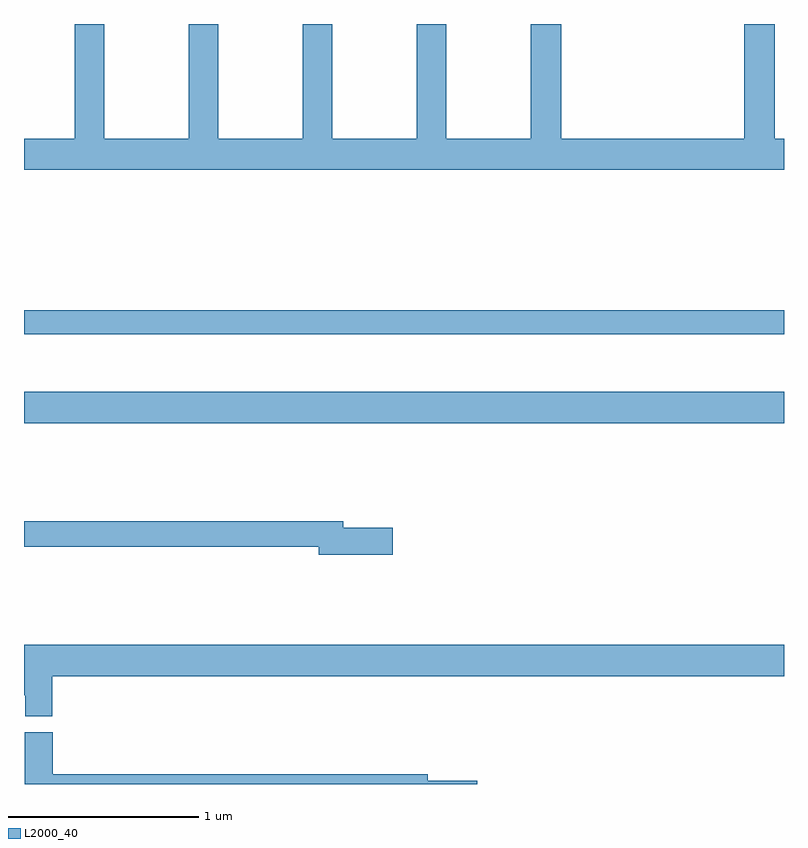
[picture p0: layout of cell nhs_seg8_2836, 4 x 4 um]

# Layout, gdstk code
import gdstk
lib = gdstk.Library(unit=1e-6, precision=1e-09)
def R(c, l, rs):  # rectangles x0, y0, x1, y1
    for r in rs: c.add(gdstk.rectangle(r[:2], r[2:], *l))
def P(c, l, *ps):  # polygons
    for p in ps: c.add(gdstk.Polygon(p, *l))
L2000_40 = (2000, 40)

nhs_seg8_2836 = lib.new_cell('nhs_seg8_2836')
R(nhs_seg8_2836, L2000_40, [(289,1149.8,293,1149.964), (289,1150.266,293,1150.394)])
P(nhs_seg8_2836, L2000_40, [(293,1151.296),(292.95,1151.296),(292.95,1151.9),(292.79,1151.9),(292.79,1151.296),(291.827,1151.296),(291.827,1151.9),(291.667,1151.9),(291.667,1151.296),(291.222,1151.296),(291.222,1151.9),(291.067,1151.9),(291.067,1151.296),(290.622,1151.296),(290.622,1151.9),(290.467,1151.9),(290.467,1151.296),(290.022,1151.296),(290.022,1151.9),(289.867,1151.9),(289.867,1151.296),(289.422,1151.296),(289.422,1151.9),(289.267,1151.9),(289.267,1151.296),(289,1151.296),(289,1151.132),(293,1151.132)],
  [(290.941,1149.248),(290.68,1149.248),(290.68,1149.284),(289,1149.284),(289,1149.148),(290.552,1149.148),(290.552,1149.106),(290.941,1149.106)],
  [(289.148,1148.468),(293,1148.468),(293,1148.632),(289,1148.632),(289,1148.367),(289.007,1148.367),(289.007,1148.257),(289.148,1148.257)],
  [(291.385,1147.916),(291.124,1147.916),(291.124,1147.952),(289.151,1147.952),(289.151,1148.172),(289.004,1148.172),(289.004,1147.9),(291.385,1147.9)])

lib.write_gds('nhs_seg8_2836.gds')
